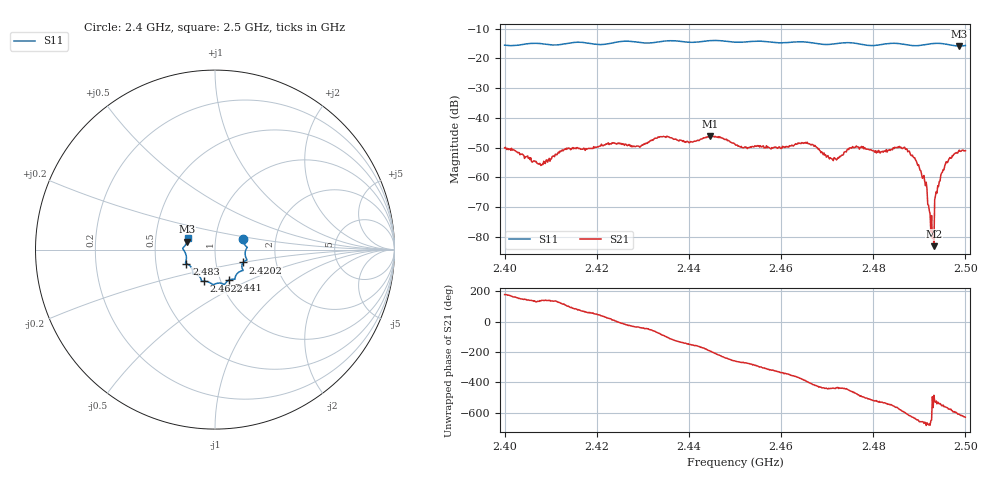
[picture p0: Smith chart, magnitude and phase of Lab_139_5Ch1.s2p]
# Hz S RI R 50
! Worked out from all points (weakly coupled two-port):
!   601 points, 2.4 GHz to 2.5 GHz, reference 50 ohm
!   highest |S21| = -46.00 dB at 2.4445 GHz (marker M1); lowest = -83.1 dB at 2.4932 GHz (marker M2)
!   lowest |S11| = -15.8 dB at 2.4987 GHz (marker M3), VSWR 1.39, Z = 36.4 + j3.28 ohm
!   |S11| at or under -10 dB: start of sweep to end of sweep
!   S12 and S22 are empty: the file has one direction only
!   S11 on the Smith chart (normalised r, x): 2.4 GHz: 1.36, +0.17; 2.4202 GHz: 1.35, -0.20; 2.441 GHz: 1.10, -0.39; 2.4622 GHz: 0.83, -0.30; 2.483 GHz: 0.72, -0.12; 2.5 GHz: 0.73, +0.09
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2.4e9  0.1561 0.0604  -0.00313 0.000115  0 0  0 0
2.407833e9  0.1774 0.00901  -0.00115 0.00111  0 0  0 0
2.416667e9  0.1777 -0.0584  0.00102 0.00282  0 0  0 0
2.420167e9  0.1562 -0.0718  0.00233 0.00234  0 0  0 0
2.433333e9  0.1131 -0.1522  0.00126 -0.00466  0 0  0 0
2.441e9  0.0769 -0.1705  -0.00367 -0.00162  0 0  0 0
2.4445e9  0.0553 -0.1916  -0.0049 0.00103  0 0  0 0
2.45e9  0.0266 -0.1863  -0.000704 0.00356  0 0  0 0
2.462167e9  -0.0632 -0.1766  0.00337 0.00038  0 0  0 0
2.466667e9  -0.0767 -0.1668  0.00234 -0.00272  0 0  0 0
2.4715e9  -0.1105 -0.1368  0.000411 -0.00212  0 0  0 0
2.476e9  -0.1251 -0.1305  -0.00107 -0.00303  0 0  0 0
2.483e9  -0.1591 -0.0781  -0.00266 -3.09e-05  0 0  0 0
2.483333e9  -0.1609 -0.0775  -0.00285 0.000162  0 0  0 0
2.489e9  -0.1603 -0.0352  0.000168 0.00214  0 0  0 0
2.491167e9  -0.1698 -0.00936  0.000447 0.000742  0 0  0 0
2.492667e9  -0.1776 0.00161  6.79e-05 0.000219  0 0  0 0
2.493167e9  -0.179 0.00375  -3.96e-05 -5.78e-05  0 0  0 0
2.493833e9  -0.1798 0.00637  -0.000547 6.23e-06  0 0  0 0
2.495167e9  -0.1767 0.0114  -0.00134 0.000197  0 0  0 0
2.498667e9  -0.1558 0.0439  -0.001 0.0027  0 0  0 0
2.5e9  -0.1529 0.0627  -6.95e-05 0.00282  0 0  0 0
